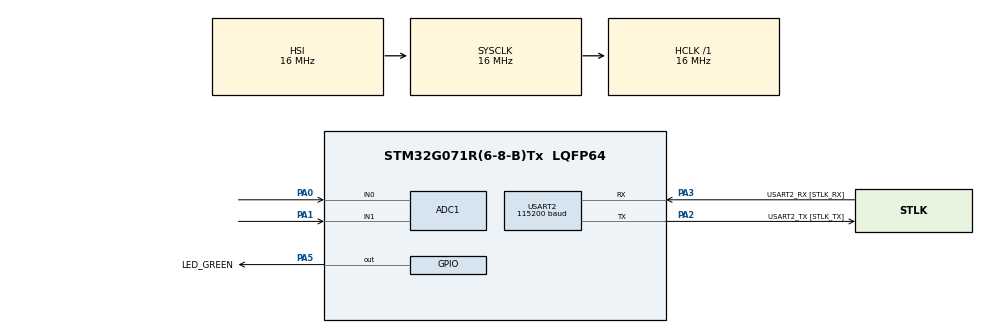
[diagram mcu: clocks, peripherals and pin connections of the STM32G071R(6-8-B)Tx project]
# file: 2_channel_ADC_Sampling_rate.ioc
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ADC1.Channel-0\#ChannelRegularConversion=ADC_CHANNEL_0
ADC1.Channel-1\#ChannelRegularConversion=ADC_CHANNEL_1
ADC1.NbrOfConversion=2
ADC1.NbrOfConversionFlag=1
ADC1.Rank-0\#ChannelRegularConversion=1
ADC1.Rank-1\#ChannelRegularConversion=2
ADC1.SamplingTime-0\#ChannelRegularConversion=ADC_SAMPLINGTIME_COMMON_1
ADC1.SamplingTime-1\#ChannelRegularConversion=ADC_SAMPLINGTIME_COMMON_1
ADC1.SamplingTimeCommon1=ADC_SAMPLETIME_160CYCLES_5
ADC1.SamplingTimeCommon2=ADC_SAMPLETIME_160CYCLES_5
ADC1.SelectedChannel=ADC_CHANNEL_0|ADC_CHANNEL_1
ADC1.master=1
Mcu.Family=STM32G0
Mcu.Name=STM32G071R(6-8-B)Tx
Mcu.Package=LQFP64
PA0.Mode=IN0
PA0.Signal=ADC1_IN0
PA1.Mode=IN1
PA1.Signal=ADC1_IN1
PA13.GPIO_Label=TMS
PA13.Signal=SYS_SWDIO
PA14-BOOT0.GPIO_Label=TCK
PA14-BOOT0.Signal=SYS_SWCLK
PA2.GPIO_Label=USART2_TX [STLK_TX]
PA2.Mode=Asynchronous
PA2.Signal=USART2_TX
PA3.GPIO_Label=USART2_RX [STLK_RX]
PA3.Mode=Asynchronous
PA3.Signal=USART2_RX
PA5.GPIO_Label=LED_GREEN
PA5.GPIO_Speed=GPIO_SPEED_FREQ_HIGH
PA5.Signal=GPIO_Output
PC13.Signal=SYS_WKUP2
PC14-OSC32_IN\ (PC14).Signal=RCC_OSC32_IN
PC15-OSC32_OUT\ (PC15).Signal=RCC_OSC32_OUT
PF0-OSC_IN\ (PF0).GPIO_Label=MCO
PF0-OSC_IN\ (PF0).Signal=RCC_OSC_IN
ProjectManager.HeapSize=0x200
ProjectManager.StackSize=0x400
ProjectManager.TargetToolchain=STM32CubeIDE
RCC.AHBFreq_Value=16000000
RCC.CortexFreq_Value=16000000
RCC.EXTERNAL_CLOCK_VALUE=12288000
RCC.HCLKFreq_Value=16000000
RCC.HSE_VALUE=8000000
RCC.HSI_VALUE=16000000
RCC.LSE_VALUE=32768
RCC.SYSCLKFreq_VALUE=16000000
RCC.VCOOutputFreq_Value=128000000
TIM6.Prescaler=16000-1
USART2.BaudRate=115200
USART2.VirtualMode-Asynchronous=VM_ASYNC
USART2.WordLength=WORDLENGTH_8B
VP_SYS_VS_DBSignals.Mode=DisableDeadBatterySignals
VP_TIM6_VS_ClockSourceINT.Mode=Enable_Timer
board=NUCLEO-G071RB

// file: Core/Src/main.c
/* USER CODE BEGIN Header */
/**
  ******************************************************************************
  * @file           : main.c
  * @brief          : Main program body
  ******************************************************************************
  * @attention
  *
  * <h2><center>&copy; Copyright (c) 2023 STMicroelectronics.
  * All rights reserved.</center></h2>
  *
  * This software component is licensed by ST under BSD 3-Clause license,
  * the "License"; You may not use this file except in compliance with the
  * License. You may obtain a copy of the License at:
  *                        opensource.org/licenses/BSD-3-Clause
  *
  ******************************************************************************
  */
/* USER CODE END Header */
#include "main.h"

/* USER CODE BEGIN Includes */
#include <stdio.h>
#include <string.h>
/* USER CODE END Includes */

ADC_HandleTypeDef hadc1;

TIM_HandleTypeDef htim6;

UART_HandleTypeDef huart2;

/* USER CODE BEGIN PV */
ADC_ChannelConfTypeDef sConfig = {0};
/* USER CODE END PV */

void SystemClock_Config(void);
static void MX_GPIO_Init(void);
static void MX_ADC1_Init(void);
static void MX_TIM6_Init(void);
static void MX_USART2_UART_Init(void);

int main(void)
{
  /* USER CODE BEGIN 1 */

	uint16_t channel_0_raw, channel_1_raw;
	char msg[20];
	uint16_t time1=0;
	uint16_t time2=0;
	uint16_t final_time=0;

  /* USER CODE END 1 */

  /* MCU Configuration--------------------------------------------------------*/

  /* Reset of all peripherals, Initializes the Flash interface and the Systick. */
  HAL_Init();

  /* Configure the system clock */
  SystemClock_Config();

  /* Initialize all configured peripherals */
  MX_GPIO_Init();
  MX_ADC1_Init();
  MX_TIM6_Init();
  MX_USART2_UART_Init();
  /* USER CODE BEGIN 2 */

  HAL_TIM_Base_Start(&htim6);
  uint16_t count=0;
  //uint16_t channel_0_raw;
  //uint16_t channel_1_raw;

  /* USER CODE END 2 */

  /* Infinite loop */
  /* USER CODE BEGIN WHILE */
  while (1)
  {
	  time1 = __HAL_TIM_GET_COUNTER(&htim6); // start counting for 1 sec

	  final_time=0;
	  count=0;

	  while(final_time < 1000){

		  //Get the ADC value from channel_0
		  sConfig.Channel = ADC_CHANNEL_0;
		  sConfig.Rank = ADC_REGULAR_RANK_1;
		  sConfig.SamplingTime = ADC_SAMPLINGTIME_COMMON_1;
		  if (HAL_ADC_ConfigChannel(&hadc1, &sConfig) != HAL_OK)
		  {
			  Error_Handler();
		  }

		  HAL_ADC_Start(&hadc1);
		  HAL_ADC_PollForConversion(&hadc1, HAL_MAX_DELAY);
		  channel_0_raw = HAL_ADC_GetValue(&hadc1);
		  //HAL_ADC_Stop(&hadc1);

		  ////////////////////////////////////////////////////////

//		  //Get the ADC value from channel_0
//		  sConfig.Channel = ADC_CHANNEL_1;
//		  sConfig.Rank = ADC_REGULAR_RANK_1;
//		  sConfig.SamplingTime = ADC_SAMPLINGTIME_COMMON_1;
//		  if (HAL_ADC_ConfigChannel(&hadc1, &sConfig) != HAL_OK)
//		  {
//			  Error_Handler();
//		  }
//
//		  HAL_ADC_Start(&hadc1);
//		  HAL_ADC_PollForConversion(&hadc1, HAL_MAX_DELAY);
//		  channel_1_raw = HAL_ADC_GetValue(&hadc1);

		  //////////////////////////////////////////////

		  count++;

		  time2 =__HAL_TIM_GET_COUNTER(&htim6);

		  final_time = time2 - time1;

//		  //Convert to string and print
//		  sprintf(msg,"ch_0 = %hu ",channel_0_raw);
//		  HAL_UART_Transmit(&huart2,(uint8_t*)msg,strlen(msg), HAL_MAX_DELAY);
//		  sprintf(msg,"ch_1 = %hu\r\n",channel_1_raw);
//		  HAL_UART_Transmit(&huart2,(uint8_t*)msg,strlen(msg), HAL_MAX_DELAY);

	  }

	  sprintf(msg,"rate = %hu\r\n",count);
	  HAL_UART_Transmit(&huart2, (uint8_t*)msg, sizeof(msg),50);

    /* USER CODE END WHILE */

 }
}

void SystemClock_Config(void)
{
  RCC_OscInitTypeDef RCC_OscInitStruct = {0};
  RCC_ClkInitTypeDef RCC_ClkInitStruct = {0};
  RCC_PeriphCLKInitTypeDef PeriphClkInit = {0};

  /** Configure the main internal regulator output voltage
  */
  HAL_PWREx_ControlVoltageScaling(PWR_REGULATOR_VOLTAGE_SCALE1);
  /** Initializes the RCC Oscillators according to the specified parameters
  * in the RCC_OscInitTypeDef structure.
  */
  RCC_OscInitStruct.OscillatorType = RCC_OSCILLATORTYPE_HSI;
  RCC_OscInitStruct.HSIState = RCC_HSI_ON;
  RCC_OscInitStruct.HSIDiv = RCC_HSI_DIV1;
  RCC_OscInitStruct.HSICalibrationValue = RCC_HSICALIBRATION_DEFAULT;
  RCC_OscInitStruct.PLL.PLLState = RCC_PLL_NONE;
  if (HAL_RCC_OscConfig(&RCC_OscInitStruct) != HAL_OK)
  {
    Error_Handler();
  }
  /** Initializes the CPU, AHB and APB buses clocks
  */
  RCC_ClkInitStruct.ClockType = RCC_CLOCKTYPE_HCLK|RCC_CLOCKTYPE_SYSCLK
                              |RCC_CLOCKTYPE_PCLK1;
  RCC_ClkInitStruct.SYSCLKSource = RCC_SYSCLKSOURCE_HSI;
  RCC_ClkInitStruct.AHBCLKDivider = RCC_SYSCLK_DIV1;
  RCC_ClkInitStruct.APB1CLKDivider = RCC_HCLK_DIV1;

  if (HAL_RCC_ClockConfig(&RCC_ClkInitStruct, FLASH_LATENCY_0) != HAL_OK)
  {
    Error_Handler();
  }
  /** Initializes the peripherals clocks
  */
  PeriphClkInit.PeriphClockSelection = RCC_PERIPHCLK_USART2|RCC_PERIPHCLK_ADC;
  PeriphClkInit.Usart2ClockSelection = RCC_USART2CLKSOURCE_PCLK1;
  PeriphClkInit.AdcClockSelection = RCC_ADCCLKSOURCE_SYSCLK;
  if (HAL_RCCEx_PeriphCLKConfig(&PeriphClkInit) != HAL_OK)
  {
    Error_Handler();
  }
}

static void MX_ADC1_Init(void)
{

  ADC_ChannelConfTypeDef sConfig = {0};

  /** Configure the global features of the ADC (Clock, Resolution, Data Alignment and number of conversion)
  */
  hadc1.Instance = ADC1;
  hadc1.Init.ClockPrescaler = ADC_CLOCK_SYNC_PCLK_DIV2;
  hadc1.Init.Resolution = ADC_RESOLUTION_12B;
  hadc1.Init.DataAlign = ADC_DATAALIGN_RIGHT;
  hadc1.Init.ScanConvMode = ADC_SCAN_ENABLE;
  hadc1.Init.EOCSelection = ADC_EOC_SINGLE_CONV;
  hadc1.Init.LowPowerAutoWait = DISABLE;
  hadc1.Init.LowPowerAutoPowerOff = DISABLE;
  hadc1.Init.ContinuousConvMode = DISABLE;
  hadc1.Init.NbrOfConversion = 2;
  hadc1.Init.DiscontinuousConvMode = DISABLE;
  hadc1.Init.ExternalTrigConv = ADC_SOFTWARE_START;
  hadc1.Init.ExternalTrigConvEdge = ADC_EXTERNALTRIGCONVEDGE_NONE;
  hadc1.Init.DMAContinuousRequests = DISABLE;
  hadc1.Init.Overrun = ADC_OVR_DATA_PRESERVED;
  hadc1.Init.SamplingTimeCommon1 = ADC_SAMPLETIME_160CYCLES_5;
  hadc1.Init.SamplingTimeCommon2 = ADC_SAMPLETIME_160CYCLES_5;
  hadc1.Init.OversamplingMode = DISABLE;
  hadc1.Init.TriggerFrequencyMode = ADC_TRIGGER_FREQ_HIGH;
  if (HAL_ADC_Init(&hadc1) != HAL_OK)
  {
    Error_Handler();
  }
  /** Configure Regular Channel
  */
  sConfig.Channel = ADC_CHANNEL_0;
  sConfig.Rank = ADC_REGULAR_RANK_1;
  sConfig.SamplingTime = ADC_SAMPLINGTIME_COMMON_1;
  if (HAL_ADC_ConfigChannel(&hadc1, &sConfig) != HAL_OK)
  {
    Error_Handler();
  }
  /** Configure Regular Channel
  */
  sConfig.Channel = ADC_CHANNEL_1;
  sConfig.Rank = ADC_REGULAR_RANK_2;
  if (HAL_ADC_ConfigChannel(&hadc1, &sConfig) != HAL_OK)
  {
    Error_Handler();
  }

}

static void MX_TIM6_Init(void)
{

  TIM_MasterConfigTypeDef sMasterConfig = {0};

  htim6.Instance = TIM6;
  htim6.Init.Prescaler = 16000-1;
  htim6.Init.CounterMode = TIM_COUNTERMODE_UP;
  htim6.Init.Period = 65535;
  htim6.Init.AutoReloadPreload = TIM_AUTORELOAD_PRELOAD_DISABLE;
  if (HAL_TIM_Base_Init(&htim6) != HAL_OK)
  {
    Error_Handler();
  }
  sMasterConfig.MasterOutputTrigger = TIM_TRGO_RESET;
  sMasterConfig.MasterSlaveMode = TIM_MASTERSLAVEMODE_DISABLE;
  if (HAL_TIMEx_MasterConfigSynchronization(&htim6, &sMasterConfig) != HAL_OK)
  {
    Error_Handler();
  }

}

static void MX_USART2_UART_Init(void)
{

  huart2.Instance = USART2;
  huart2.Init.BaudRate = 115200;
  huart2.Init.WordLength = UART_WORDLENGTH_8B;
  huart2.Init.StopBits = UART_STOPBITS_1;
  huart2.Init.Parity = UART_PARITY_NONE;
  huart2.Init.Mode = UART_MODE_TX_RX;
  huart2.Init.HwFlowCtl = UART_HWCONTROL_NONE;
  huart2.Init.OverSampling = UART_OVERSAMPLING_16;
  huart2.Init.OneBitSampling = UART_ONE_BIT_SAMPLE_DISABLE;
  huart2.Init.ClockPrescaler = UART_PRESCALER_DIV1;
  huart2.AdvancedInit.AdvFeatureInit = UART_ADVFEATURE_NO_INIT;
  if (HAL_UART_Init(&huart2) != HAL_OK)
  {
    Error_Handler();
  }
  if (HAL_UARTEx_SetTxFifoThreshold(&huart2, UART_TXFIFO_THRESHOLD_1_8) != HAL_OK)
  {
    Error_Handler();
  }
  if (HAL_UARTEx_SetRxFifoThreshold(&huart2, UART_RXFIFO_THRESHOLD_1_8) != HAL_OK)
  {
    Error_Handler();
  }
  if (HAL_UARTEx_DisableFifoMode(&huart2) != HAL_OK)
  {
    Error_Handler();
  }

}

static void MX_GPIO_Init(void)
{
  GPIO_InitTypeDef GPIO_InitStruct = {0};

  /* GPIO Ports Clock Enable */
  __HAL_RCC_GPIOC_CLK_ENABLE();
  __HAL_RCC_GPIOF_CLK_ENABLE();
  __HAL_RCC_GPIOA_CLK_ENABLE();

  /*Configure GPIO pin Output Level */
  HAL_GPIO_WritePin(LED_GREEN_GPIO_Port, LED_GREEN_Pin, GPIO_PIN_RESET);

  /*Configure GPIO pin : LED_GREEN_Pin */
  GPIO_InitStruct.Pin = LED_GREEN_Pin;
  GPIO_InitStruct.Mode = GPIO_MODE_OUTPUT_PP;
  GPIO_InitStruct.Pull = GPIO_NOPULL;
  GPIO_InitStruct.Speed = GPIO_SPEED_FREQ_HIGH;
  HAL_GPIO_Init(LED_GREEN_GPIO_Port, &GPIO_InitStruct);

}

void Error_Handler(void)
{
  __disable_irq();
  while (1)
  {
  }
}

/************************ (C) COPYRIGHT STMicroelectronics *****END OF FILE****/
